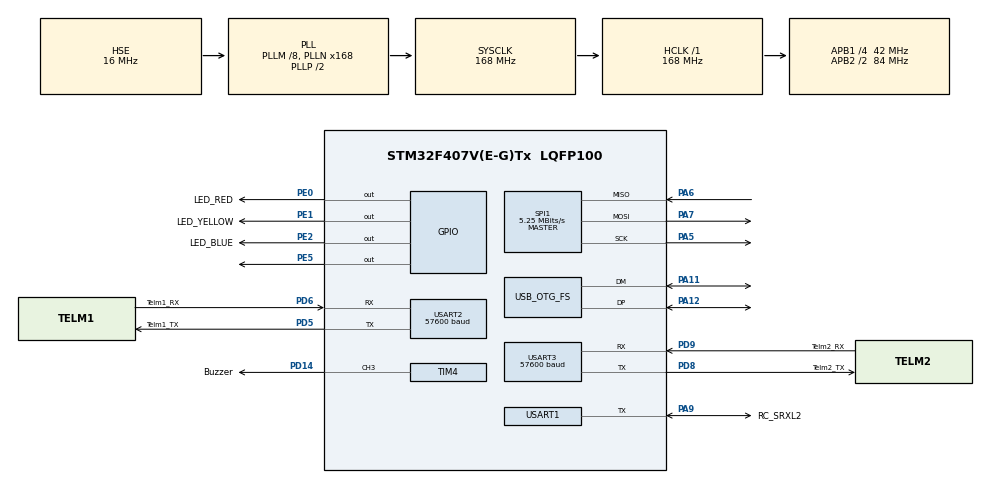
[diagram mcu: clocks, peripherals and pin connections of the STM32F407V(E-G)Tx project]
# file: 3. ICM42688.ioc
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Mcu.Family=STM32F4
Mcu.Name=STM32F407V(E-G)Tx
Mcu.Package=LQFP100
NVIC.OTG_FS_IRQn=true\:0\:0\:false\:false\:true\:false\:true\:true
NVIC.PriorityGroup=NVIC_PRIORITYGROUP_4
NVIC.USART1_IRQn=true\:0\:0\:false\:false\:true\:true\:true\:true
NVIC.USART2_IRQn=true\:0\:0\:false\:false\:true\:true\:true\:true
NVIC.USART3_IRQn=true\:0\:0\:false\:false\:true\:true\:true\:true
PA11.Mode=Device_Only
PA11.Signal=USB_OTG_FS_DM
PA12.Mode=Device_Only
PA12.Signal=USB_OTG_FS_DP
PA13.Mode=Serial_Wire
PA13.Signal=SYS_JTMS-SWDIO
PA14.Mode=Serial_Wire
PA14.Signal=SYS_JTCK-SWCLK
PA5.Mode=Full_Duplex_Master
PA5.Signal=SPI1_SCK
PA6.Mode=Full_Duplex_Master
PA6.Signal=SPI1_MISO
PA7.Mode=Full_Duplex_Master
PA7.Signal=SPI1_MOSI
PA9.GPIO_Label=RC_SRXL2
PA9.Mode=Half_duplex(single_wire_mode)
PA9.Signal=USART1_TX
PD11.Signal=USART3_CTS
PD12.Signal=USART3_RTS
PD14.GPIO_Label=Buzzer
PD14.Signal=S_TIM4_CH3
PD3.Signal=USART2_CTS
PD4.Signal=USART2_RTS
PD5.GPIO_Label=Telm1_TX
PD5.Mode=Asynchronous
PD5.Signal=USART2_TX
PD6.GPIO_Label=Telm1_RX
PD6.Mode=Asynchronous
PD6.Signal=USART2_RX
PD8.GPIO_Label=Telm2_TX
PD8.Mode=Asynchronous
PD8.Signal=USART3_TX
PD9.GPIO_Label=Telm2_RX
PD9.Mode=Asynchronous
PD9.Signal=USART3_RX
PE0.GPIO_Label=LED_RED
PE0.Signal=GPIO_Output
PE1.GPIO_Label=LED_YELLOW
PE1.Signal=GPIO_Output
PE2.GPIO_Label=LED_BLUE
PE2.Signal=GPIO_Output
PE5.Signal=GPIO_Output
PH0-OSC_IN.Mode=HSE-External-Oscillator
PH0-OSC_IN.Signal=RCC_OSC_IN
PH1-OSC_OUT.Mode=HSE-External-Oscillator
PH1-OSC_OUT.Signal=RCC_OSC_OUT
ProjectManager.HeapSize=0x200
ProjectManager.StackSize=0x400
ProjectManager.TargetToolchain=STM32CubeIDE
RCC.48MHZClocksFreq_Value=48000000
RCC.AHBFreq_Value=168000000
RCC.APB1CLKDivider=RCC_HCLK_DIV4
RCC.APB1Freq_Value=42000000
RCC.APB1TimFreq_Value=84000000
RCC.APB2CLKDivider=RCC_HCLK_DIV2
RCC.APB2Freq_Value=84000000
RCC.APB2TimFreq_Value=168000000
RCC.CortexFreq_Value=168000000
RCC.HCLKFreq_Value=168000000
RCC.HSE_VALUE=16000000
RCC.HSI_VALUE=16000000
RCC.LSE_VALUE=32768
RCC.PLLM=8
RCC.PLLN=168
RCC.PLLQ=7
RCC.SYSCLKFreq_VALUE=168000000
RCC.SYSCLKSource=RCC_SYSCLKSOURCE_PLLCLK
RCC.VCOOutputFreq_Value=336000000
SH.S_TIM4_CH3.0=TIM4_CH3,PWM Generation3 CH3
SPI1.BaudRatePrescaler=SPI_BAUDRATEPRESCALER_16
SPI1.CLKPhase=SPI_PHASE_2EDGE
SPI1.CLKPolarity=SPI_POLARITY_HIGH
SPI1.CalculateBaudRate=5.25 MBits/s
SPI1.Direction=SPI_DIRECTION_2LINES
SPI1.Mode=SPI_MODE_MASTER
SPI1.VirtualType=VM_MASTER
TIM4.Channel-PWM\ Generation3\ CH3=TIM_CHANNEL_3
TIM4.Period=64220-1
TIM4.Prescaler=5-1
TIM4.Pulse-PWM\ Generation3\ CH3=0
USART1.VirtualMode=VM_ASYNC
USART2.BaudRate=57600
USART2.VirtualMode=VM_ASYNC
USART3.BaudRate=57600
USART3.VirtualMode=VM_ASYNC
USB_DEVICE.CLASS_NAME_FS=CDC
USB_DEVICE.USBD_DEBUG_LEVEL-CDC_FS=0
USB_DEVICE.VirtualMode-CDC_FS=Cdc
USB_DEVICE.VirtualModeFS=Cdc_FS
USB_OTG_FS.VirtualMode=Device_Only
VP_TIM4_VS_ClockSourceINT.Mode=Internal
VP_USB_DEVICE_VS_USB_DEVICE_CDC_FS.Mode=CDC_FS
board=custom

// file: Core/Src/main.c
/* USER CODE BEGIN Header */
/**
  ******************************************************************************
  * @file           : main.c
  * @brief          : Main program body
  ******************************************************************************
  * @attention
  *
  * Copyright (c) 2025 STMicroelectronics.
  * All rights reserved.
  *
  * This software is licensed under terms that can be found in the LICENSE file
  * in the root directory of this software component.
  * If no LICENSE file comes with this software, it is provided AS-IS.
  *
  ******************************************************************************
  */
/* USER CODE END Header */
#include "main.h"
#include "usb_device.h"

/* USER CODE BEGIN Includes */
#include "usbd_cdc_if.h"
#include <FC_Basic/driver_Buzzer.h>
#include <FC_Gyro/driver_ICM42688.h>

/* USER CODE END Includes */

/* USER CODE BEGIN PTD */
int _write(int file, char *p, int len)
{
	/*
	for(int i=0; i<len; i++)
	{
		LL_USART_TransmitData8(USART2, *(p+i));
		HAL_Delay(1);
	}
	*/
	while(USBD_BUSY == CDC_Transmit_FS((uint8_t*)p, len)) {}
	return len;
}

/* USER CODE END PTD */

/* USER CODE BEGIN PV */
// SRXL2
extern uint8_t uart1_rx_flag;
extern uint8_t uart1_rx_data;

// Telm1
extern uint8_t uart2_rx_flag;
extern uint8_t uart2_rx_data;

// Telm2
extern uint8_t uart3_rx_flag;
extern uint8_t uart3_rx_data;
/* USER CODE END PV */

void SystemClock_Config(void);
static void MX_GPIO_Init(void);
static void MX_USART1_UART_Init(void);
static void MX_TIM4_Init(void);
static void MX_USART2_UART_Init(void);
static void MX_USART3_UART_Init(void);
static void MX_SPI1_Init(void);

int main(void)
{

  /* MCU Configuration--------------------------------------------------------*/

  /* Reset of all peripherals, Initializes the Flash interface and the Systick. */
  HAL_Init();

  /* Configure the system clock */
  SystemClock_Config();

  /* Initialize all configured peripherals */
  MX_GPIO_Init();
  MX_USART1_UART_Init();
  MX_USB_DEVICE_Init();
  MX_TIM4_Init();
  MX_USART2_UART_Init();
  MX_USART3_UART_Init();
  MX_SPI1_Init();
  /* USER CODE BEGIN 2 */

  LL_TIM_EnableCounter(TIM4);
  BuzzerPlayInit();

  // interrupt when finished receiving
  LL_USART_EnableIT_RXNE(USART1);
  LL_USART_EnableIT_RXNE(USART2);
  LL_USART_EnableIT_RXNE(USART3);

  ICM42688_Initialization();

  /* USER CODE END 2 */

  /* Infinite loop */
  /* USER CODE BEGIN WHILE */
  while (1)
  {
	  /*
	  if(uart1_rx_flag == 1)
	  {
		  uart1_rx_flag = 0;
		  CDC_Transmit_FS(uart1_rx_data, 1);
		  // LL_USART_TransmitData8(USART2, uart1_rx_data);
		  // LL_USART_TransmitData8(USART2, uart2_rx_data);
	  }
	  */
	  ICM42688_Get6AxisRawData();

	  printf("%d %d %d\n\r", ICM42688.gyro_x_raw, ICM42688.gyro_y_raw, ICM42688.gyro_z_raw);
	  HAL_Delay(100);
	  // printf("%d %d %d\n\r", ICM42688.acc_x_raw, ICM42688.acc_y_raw, ICM42688.acc_z_raw);

    /* USER CODE END WHILE */

  }
}

void SystemClock_Config(void)
{
  RCC_OscInitTypeDef RCC_OscInitStruct = {0};
  RCC_ClkInitTypeDef RCC_ClkInitStruct = {0};

  /** Configure the main internal regulator output voltage
  */
  __HAL_RCC_PWR_CLK_ENABLE();
  __HAL_PWR_VOLTAGESCALING_CONFIG(PWR_REGULATOR_VOLTAGE_SCALE1);

  /** Initializes the RCC Oscillators according to the specified parameters
  * in the RCC_OscInitTypeDef structure.
  */
  RCC_OscInitStruct.OscillatorType = RCC_OSCILLATORTYPE_HSE;
  RCC_OscInitStruct.HSEState = RCC_HSE_ON;
  RCC_OscInitStruct.PLL.PLLState = RCC_PLL_ON;
  RCC_OscInitStruct.PLL.PLLSource = RCC_PLLSOURCE_HSE;
  RCC_OscInitStruct.PLL.PLLM = 8;
  RCC_OscInitStruct.PLL.PLLN = 168;
  RCC_OscInitStruct.PLL.PLLP = RCC_PLLP_DIV2;
  RCC_OscInitStruct.PLL.PLLQ = 7;
  if (HAL_RCC_OscConfig(&RCC_OscInitStruct) != HAL_OK)
  {
    Error_Handler();
  }

  /** Initializes the CPU, AHB and APB buses clocks
  */
  RCC_ClkInitStruct.ClockType = RCC_CLOCKTYPE_HCLK|RCC_CLOCKTYPE_SYSCLK
                              |RCC_CLOCKTYPE_PCLK1|RCC_CLOCKTYPE_PCLK2;
  RCC_ClkInitStruct.SYSCLKSource = RCC_SYSCLKSOURCE_PLLCLK;
  RCC_ClkInitStruct.AHBCLKDivider = RCC_SYSCLK_DIV1;
  RCC_ClkInitStruct.APB1CLKDivider = RCC_HCLK_DIV4;
  RCC_ClkInitStruct.APB2CLKDivider = RCC_HCLK_DIV2;

  if (HAL_RCC_ClockConfig(&RCC_ClkInitStruct, FLASH_LATENCY_5) != HAL_OK)
  {
    Error_Handler();
  }
}

static void MX_SPI1_Init(void)
{

  LL_SPI_InitTypeDef SPI_InitStruct = {0};

  LL_GPIO_InitTypeDef GPIO_InitStruct = {0};

  /* Peripheral clock enable */
  LL_APB2_GRP1_EnableClock(LL_APB2_GRP1_PERIPH_SPI1);

  LL_AHB1_GRP1_EnableClock(LL_AHB1_GRP1_PERIPH_GPIOA);
  /**SPI1 GPIO Configuration
  PA5   ------> SPI1_SCK
  PA6   ------> SPI1_MISO
  PA7   ------> SPI1_MOSI
  */
  GPIO_InitStruct.Pin = LL_GPIO_PIN_5|LL_GPIO_PIN_6|LL_GPIO_PIN_7;
  GPIO_InitStruct.Mode = LL_GPIO_MODE_ALTERNATE;
  GPIO_InitStruct.Speed = LL_GPIO_SPEED_FREQ_VERY_HIGH;
  GPIO_InitStruct.OutputType = LL_GPIO_OUTPUT_PUSHPULL;
  GPIO_InitStruct.Pull = LL_GPIO_PULL_NO;
  GPIO_InitStruct.Alternate = LL_GPIO_AF_5;
  LL_GPIO_Init(GPIOA, &GPIO_InitStruct);

  /* SPI1 parameter configuration*/
  SPI_InitStruct.TransferDirection = LL_SPI_FULL_DUPLEX;
  SPI_InitStruct.Mode = LL_SPI_MODE_MASTER;
  SPI_InitStruct.DataWidth = LL_SPI_DATAWIDTH_8BIT;
  SPI_InitStruct.ClockPolarity = LL_SPI_POLARITY_HIGH;
  SPI_InitStruct.ClockPhase = LL_SPI_PHASE_2EDGE;
  SPI_InitStruct.NSS = LL_SPI_NSS_SOFT;
  SPI_InitStruct.BaudRate = LL_SPI_BAUDRATEPRESCALER_DIV16;
  SPI_InitStruct.BitOrder = LL_SPI_MSB_FIRST;
  SPI_InitStruct.CRCCalculation = LL_SPI_CRCCALCULATION_DISABLE;
  SPI_InitStruct.CRCPoly = 10;
  LL_SPI_Init(SPI1, &SPI_InitStruct);
  LL_SPI_SetStandard(SPI1, LL_SPI_PROTOCOL_MOTOROLA);

}

static void MX_TIM4_Init(void)
{

  LL_TIM_InitTypeDef TIM_InitStruct = {0};
  LL_TIM_OC_InitTypeDef TIM_OC_InitStruct = {0};

  LL_GPIO_InitTypeDef GPIO_InitStruct = {0};

  /* Peripheral clock enable */
  LL_APB1_GRP1_EnableClock(LL_APB1_GRP1_PERIPH_TIM4);

  TIM_InitStruct.Prescaler = 4;
  TIM_InitStruct.CounterMode = LL_TIM_COUNTERMODE_UP;
  TIM_InitStruct.Autoreload = 64220-LL_TIM_IC_FILTER_FDIV1_N2;
  TIM_InitStruct.ClockDivision = LL_TIM_CLOCKDIVISION_DIV1;
  LL_TIM_Init(TIM4, &TIM_InitStruct);
  LL_TIM_DisableARRPreload(TIM4);
  LL_TIM_SetClockSource(TIM4, LL_TIM_CLOCKSOURCE_INTERNAL);
  LL_TIM_OC_EnablePreload(TIM4, LL_TIM_CHANNEL_CH3);
  TIM_OC_InitStruct.OCMode = LL_TIM_OCMODE_PWM1;
  TIM_OC_InitStruct.OCState = LL_TIM_OCSTATE_DISABLE;
  TIM_OC_InitStruct.OCNState = LL_TIM_OCSTATE_DISABLE;
  TIM_OC_InitStruct.CompareValue = 0;
  TIM_OC_InitStruct.OCPolarity = LL_TIM_OCPOLARITY_HIGH;
  LL_TIM_OC_Init(TIM4, LL_TIM_CHANNEL_CH3, &TIM_OC_InitStruct);
  LL_TIM_OC_DisableFast(TIM4, LL_TIM_CHANNEL_CH3);
  LL_TIM_SetTriggerOutput(TIM4, LL_TIM_TRGO_RESET);
  LL_TIM_DisableMasterSlaveMode(TIM4);
  LL_AHB1_GRP1_EnableClock(LL_AHB1_GRP1_PERIPH_GPIOD);
  /**TIM4 GPIO Configuration
  PD14   ------> TIM4_CH3
  */
  GPIO_InitStruct.Pin = Buzzer_Pin;
  GPIO_InitStruct.Mode = LL_GPIO_MODE_ALTERNATE;
  GPIO_InitStruct.Speed = LL_GPIO_SPEED_FREQ_LOW;
  GPIO_InitStruct.OutputType = LL_GPIO_OUTPUT_PUSHPULL;
  GPIO_InitStruct.Pull = LL_GPIO_PULL_NO;
  GPIO_InitStruct.Alternate = LL_GPIO_AF_2;
  LL_GPIO_Init(Buzzer_GPIO_Port, &GPIO_InitStruct);

}

static void MX_USART1_UART_Init(void)
{

  LL_USART_InitTypeDef USART_InitStruct = {0};

  LL_GPIO_InitTypeDef GPIO_InitStruct = {0};

  /* Peripheral clock enable */
  LL_APB2_GRP1_EnableClock(LL_APB2_GRP1_PERIPH_USART1);

  LL_AHB1_GRP1_EnableClock(LL_AHB1_GRP1_PERIPH_GPIOA);
  /**USART1 GPIO Configuration
  PA9   ------> USART1_TX
  */
  GPIO_InitStruct.Pin = RC_SRXL2_Pin;
  GPIO_InitStruct.Mode = LL_GPIO_MODE_ALTERNATE;
  GPIO_InitStruct.Speed = LL_GPIO_SPEED_FREQ_VERY_HIGH;
  GPIO_InitStruct.OutputType = LL_GPIO_OUTPUT_OPENDRAIN;
  GPIO_InitStruct.Pull = LL_GPIO_PULL_NO;
  GPIO_InitStruct.Alternate = LL_GPIO_AF_7;
  LL_GPIO_Init(RC_SRXL2_GPIO_Port, &GPIO_InitStruct);

  /* USART1 interrupt Init */
  NVIC_SetPriority(USART1_IRQn, NVIC_EncodePriority(NVIC_GetPriorityGrouping(),0, 0));
  NVIC_EnableIRQ(USART1_IRQn);

  USART_InitStruct.BaudRate = 115200;
  USART_InitStruct.DataWidth = LL_USART_DATAWIDTH_8B;
  USART_InitStruct.StopBits = LL_USART_STOPBITS_1;
  USART_InitStruct.Parity = LL_USART_PARITY_NONE;
  USART_InitStruct.TransferDirection = LL_USART_DIRECTION_TX_RX;
  USART_InitStruct.OverSampling = LL_USART_OVERSAMPLING_16;
  LL_USART_Init(USART1, &USART_InitStruct);
  LL_USART_Enable(USART1);
  LL_USART_ConfigHalfDuplexMode(USART1);

}

static void MX_USART2_UART_Init(void)
{

  LL_USART_InitTypeDef USART_InitStruct = {0};

  LL_GPIO_InitTypeDef GPIO_InitStruct = {0};

  /* Peripheral clock enable */
  LL_APB1_GRP1_EnableClock(LL_APB1_GRP1_PERIPH_USART2);

  LL_AHB1_GRP1_EnableClock(LL_AHB1_GRP1_PERIPH_GPIOD);
  /**USART2 GPIO Configuration
  PD3   ------> USART2_CTS
  PD4   ------> USART2_RTS
  PD5   ------> USART2_TX
  PD6   ------> USART2_RX
  */
  GPIO_InitStruct.Pin = LL_GPIO_PIN_3|LL_GPIO_PIN_4|Telm1_TX_Pin|Telm1_RX_Pin;
  GPIO_InitStruct.Mode = LL_GPIO_MODE_ALTERNATE;
  GPIO_InitStruct.Speed = LL_GPIO_SPEED_FREQ_VERY_HIGH;
  GPIO_InitStruct.OutputType = LL_GPIO_OUTPUT_PUSHPULL;
  GPIO_InitStruct.Pull = LL_GPIO_PULL_NO;
  GPIO_InitStruct.Alternate = LL_GPIO_AF_7;
  LL_GPIO_Init(GPIOD, &GPIO_InitStruct);

  /* USART2 interrupt Init */
  NVIC_SetPriority(USART2_IRQn, NVIC_EncodePriority(NVIC_GetPriorityGrouping(),0, 0));
  NVIC_EnableIRQ(USART2_IRQn);

  USART_InitStruct.BaudRate = 57600;
  USART_InitStruct.DataWidth = LL_USART_DATAWIDTH_8B;
  USART_InitStruct.StopBits = LL_USART_STOPBITS_1;
  USART_InitStruct.Parity = LL_USART_PARITY_NONE;
  USART_InitStruct.TransferDirection = LL_USART_DIRECTION_TX_RX;
  USART_InitStruct.HardwareFlowControl = LL_USART_HWCONTROL_NONE;
  USART_InitStruct.OverSampling = LL_USART_OVERSAMPLING_16;
  LL_USART_Init(USART2, &USART_InitStruct);
  LL_USART_ConfigAsyncMode(USART2);
  LL_USART_Enable(USART2);

}

static void MX_USART3_UART_Init(void)
{

  LL_USART_InitTypeDef USART_InitStruct = {0};

  LL_GPIO_InitTypeDef GPIO_InitStruct = {0};

  /* Peripheral clock enable */
  LL_APB1_GRP1_EnableClock(LL_APB1_GRP1_PERIPH_USART3);

  LL_AHB1_GRP1_EnableClock(LL_AHB1_GRP1_PERIPH_GPIOD);
  /**USART3 GPIO Configuration
  PD8   ------> USART3_TX
  PD9   ------> USART3_RX
  PD11   ------> USART3_CTS
  PD12   ------> USART3_RTS
  */
  GPIO_InitStruct.Pin = Telm2_TX_Pin|Telm2_RX_Pin|LL_GPIO_PIN_11|LL_GPIO_PIN_12;
  GPIO_InitStruct.Mode = LL_GPIO_MODE_ALTERNATE;
  GPIO_InitStruct.Speed = LL_GPIO_SPEED_FREQ_VERY_HIGH;
  GPIO_InitStruct.OutputType = LL_GPIO_OUTPUT_PUSHPULL;
  GPIO_InitStruct.Pull = LL_GPIO_PULL_NO;
  GPIO_InitStruct.Alternate = LL_GPIO_AF_7;
  LL_GPIO_Init(GPIOD, &GPIO_InitStruct);

  /* USART3 interrupt Init */
  NVIC_SetPriority(USART3_IRQn, NVIC_EncodePriority(NVIC_GetPriorityGrouping(),0, 0));
  NVIC_EnableIRQ(USART3_IRQn);

  USART_InitStruct.BaudRate = 57600;
  USART_InitStruct.DataWidth = LL_USART_DATAWIDTH_8B;
  USART_InitStruct.StopBits = LL_USART_STOPBITS_1;
  USART_InitStruct.Parity = LL_USART_PARITY_NONE;
  USART_InitStruct.TransferDirection = LL_USART_DIRECTION_TX_RX;
  USART_InitStruct.HardwareFlowControl = LL_USART_HWCONTROL_NONE;
  USART_InitStruct.OverSampling = LL_USART_OVERSAMPLING_16;
  LL_USART_Init(USART3, &USART_InitStruct);
  LL_USART_ConfigAsyncMode(USART3);
  LL_USART_Enable(USART3);

}

static void MX_GPIO_Init(void)
{
  LL_GPIO_InitTypeDef GPIO_InitStruct = {0};

  /* GPIO Ports Clock Enable */
  LL_AHB1_GRP1_EnableClock(LL_AHB1_GRP1_PERIPH_GPIOE);
  LL_AHB1_GRP1_EnableClock(LL_AHB1_GRP1_PERIPH_GPIOH);
  LL_AHB1_GRP1_EnableClock(LL_AHB1_GRP1_PERIPH_GPIOA);
  LL_AHB1_GRP1_EnableClock(LL_AHB1_GRP1_PERIPH_GPIOD);

  /**/
  LL_GPIO_ResetOutputPin(GPIOE, LED_BLUE_Pin|LL_GPIO_PIN_5|LED_RED_Pin|LED_YELLOW_Pin);

  /**/
  GPIO_InitStruct.Pin = LED_BLUE_Pin|LL_GPIO_PIN_5|LED_RED_Pin|LED_YELLOW_Pin;
  GPIO_InitStruct.Mode = LL_GPIO_MODE_OUTPUT;
  GPIO_InitStruct.Speed = LL_GPIO_SPEED_FREQ_LOW;
  GPIO_InitStruct.OutputType = LL_GPIO_OUTPUT_PUSHPULL;
  GPIO_InitStruct.Pull = LL_GPIO_PULL_NO;
  LL_GPIO_Init(GPIOE, &GPIO_InitStruct);

}

void Error_Handler(void)
{
  __disable_irq();
  while (1)
  {
  }
}
